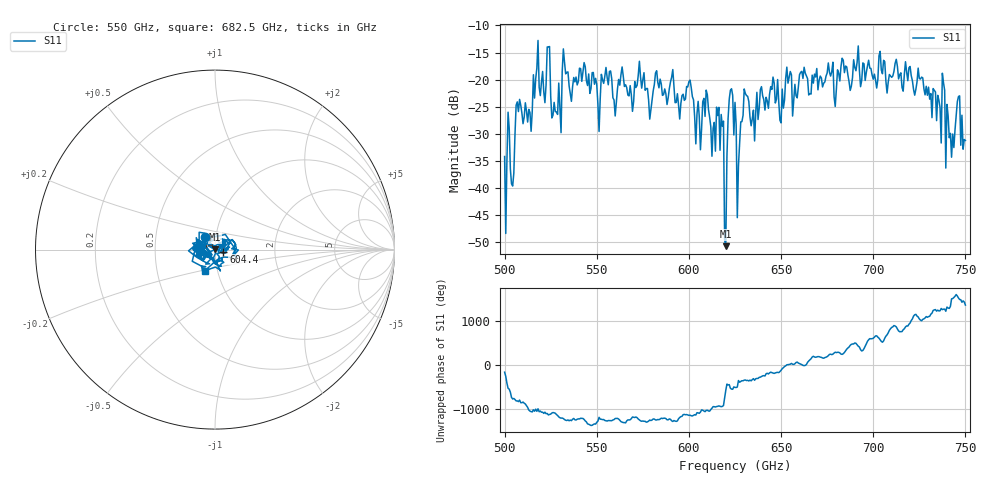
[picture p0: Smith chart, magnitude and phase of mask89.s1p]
!Created with skrf (http://scikit-rf.org).
# GHz S MA R 50.0
!freq magS11 angS11
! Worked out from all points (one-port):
!   401 points, 500 GHz to 750 GHz, reference 50 ohm
!   lowest |S11| = -50.7 dB at 620 GHz (marker M1), VSWR 1.01, Z = 49.8 + j0.196 ohm
!   |S11| at or under -10 dB: start of sweep to end of sweep
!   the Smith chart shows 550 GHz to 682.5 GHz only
!   S11 on the Smith chart (normalised r, x): 550 GHz: 0.89, +0.13; 604.4 GHz: 1.10, -0.02; 682.5 GHz: 0.87, -0.21
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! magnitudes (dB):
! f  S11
! 500 GHz  -34.2
! 504.4 GHz  -39.6
! 507.5 GHz  -25.9
! 513.8 GHz  -26.1
! 516.9 GHz  -19.8
! 523.8 GHz  -14.0
! 526.9 GHz  -24.2
! 531.2 GHz  -18.5
! 550 GHz  -21.0
! 562.5 GHz  -21.0
! 593.8 GHz  -22.6
! 600 GHz  -20.4
! 604.4 GHz  -26.3
! 616.2 GHz  -25.1
! 620 GHz  -50.7
! 622.5 GHz  -22.0
! 625 GHz  -24.2
! 627.5 GHz  -31.8
! 631.2 GHz  -22.9
! 634.4 GHz  -27.2
! 656.2 GHz  -26.7
! 682.5 GHz  -17.6
! 687.5 GHz  -22.0
! 718.8 GHz  -20.2
! 737.5 GHz  -18.8
! 742.5 GHz  -34.3
! 745.6 GHz  -24.1
! 750 GHz  -31.2
